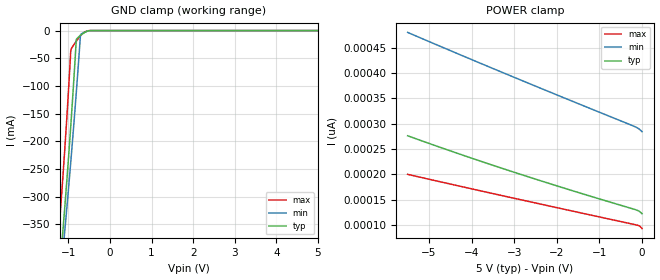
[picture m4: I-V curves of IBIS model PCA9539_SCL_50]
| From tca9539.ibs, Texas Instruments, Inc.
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[Model]   PCA9539_SCL_50
Model_type  Input
Vinl=1.35
Vinh=3.85
| variable   typ   min   max
C_comp   2.89pF   1.56pF   7.17pF
[Temperature Range]   40   100   -40
| Ambient temperature   25   85   -40
[Voltage range]   5   4.5   5.5
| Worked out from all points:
|   GND clamp passes 1 mA (typ) near -0.54 V on its own axis
[GND Clamp]
| PCA9539_SCL_50
|   Voltage   I(typ)   I(min)   I(max)
-5.5V     -1.952A    -1.991A    -1.822A
-1.24V    -456.1mA   -482.2mA   -371.1mA
-1.205V   -425.8mA   -455.2mA   -337.1mA
-1.135V   -362.9mA   -399.8mA   -265.2mA
-1.1V     -330.1mA   -371.2mA   -227.1mA
-1.07V    -301.2mA   -346.3mA   -193.2mA
-1.005V   -236.2mA   -290.9mA   -115.2mA
-945mV    -172.6mA   -237.7mA   -36.94mA
-810mV    -16.02mA   -110.1mA   -19.15mA
-710mV    -8.623mA   -7.36mA    -9.218mA
-555mV    -1.256mA   -1.321mA   -672uA
5V        122pA      305.6pA    79.4pA
[POWER Clamp]
| PCA9539_SCL_50
|   Voltage   I(typ)   I(min)   I(max)
-5.5V     276.1pA    480.5pA    199.8pA
-4.285V   240.1pA    436.9pA    176.6pA
-3.025V   204.6pA    392.5pA    153pA
-1.71V    169.5pA    347pA      128.7pA
-140mV    129.6pA    293pA      99.92pA
-55mV     126.1pA    288.5pA    97.4pA
-95.1fV   122pA      284.2pA    92.47pA
